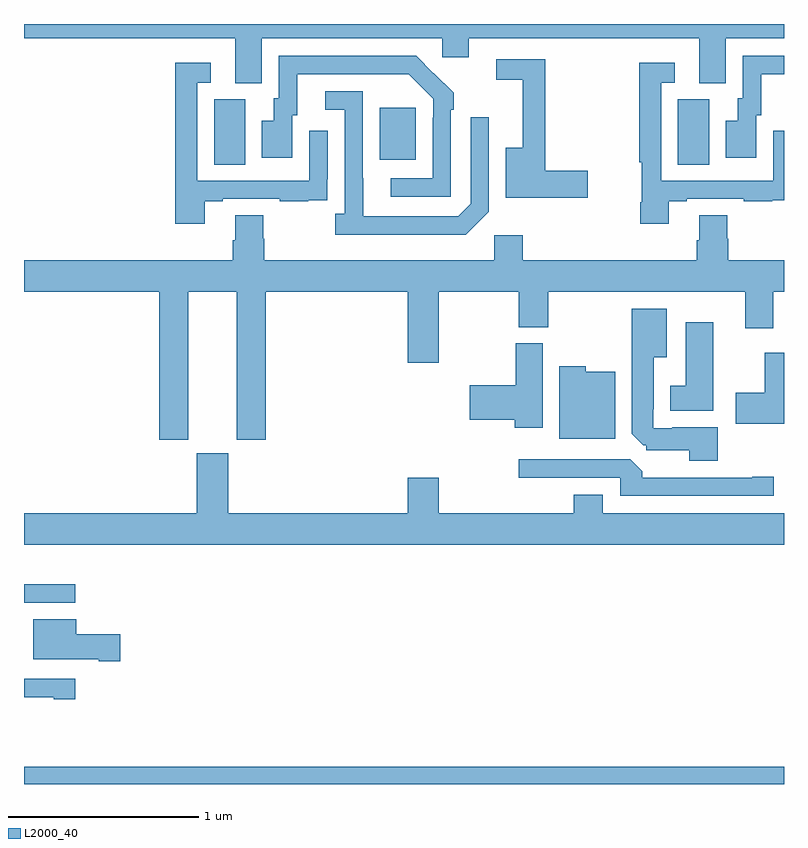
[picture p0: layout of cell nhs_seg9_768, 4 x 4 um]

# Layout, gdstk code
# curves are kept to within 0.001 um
import gdstk
lib = gdstk.Library(unit=1e-6, precision=1e-09)
def R(c, l, rs):  # rectangles x0, y0, x1, y1
    for r in rs: c.add(gdstk.rectangle(r[:2], r[2:], *l))
def P(c, l, *ps):  # polygons
    for p in ps: c.add(gdstk.Polygon(p, *l))
L2000_40 = (2000, 40)

nhs_seg9_768 = lib.new_cell('nhs_seg9_768')
R(nhs_seg9_768, L2000_40, [(151,1188.5,155,1188.592), (151,1189.455,151.27,1189.551), (152,1191.76,152.164,1192.104), (154.442,1191.76,154.606,1192.104), (152.873,1191.785,153.061,1192.06)])
P(nhs_seg9_768, L2000_40, [(152.251,1192.424),(153.201,1192.424),(153.201,1192.326),(153.34,1192.326),(153.34,1192.424),(154.553,1192.424),(154.553,1192.189),(154.693,1192.189),(154.693,1192.424),(155,1192.424),(155,1192.5),(151,1192.5),(151,1192.424),(152.111,1192.424),(152.111,1192.189),(152.251,1192.189)],
  [(153.246,1192.049),(153.261,1192.049),(153.261,1192.137),(153.064,1192.332),(152.34,1192.332),(152.34,1192.11),(152.315,1192.11),(152.315,1191.991),(152.252,1191.991),(152.252,1191.795),(152.413,1191.795),(152.413,1192.02),(152.437,1192.02),(152.437,1192.236),(153.025,1192.236),(153.153,1192.107),(153.153,1192.007),(153.15,1192.007),(153.15,1191.687),(152.931,1191.687),(152.931,1191.591),(153.246,1191.591)],
  [(154.855,1192.02),(154.879,1192.02),(154.879,1192.236),(155,1192.236),(155,1192.332),(154.782,1192.332),(154.782,1192.11),(154.757,1192.11),(154.757,1191.991),(154.694,1191.991),(154.694,1191.795),(154.855,1191.795)],
  [(153.967,1191.728),(153.743,1191.728),(153.743,1192.314),(153.486,1192.314),(153.486,1192.206),(153.626,1192.206),(153.626,1191.85),(153.536,1191.85),(153.536,1191.586),(153.967,1191.586)],
  [(151.951,1191.567),(152.047,1191.567),(152.047,1191.579),(152.347,1191.579),(152.347,1191.567),(152.495,1191.567),(152.495,1191.573),(152.597,1191.573),(152.597,1191.682),(152.598,1191.682),(152.598,1191.937),(152.502,1191.937),(152.502,1191.675),(151.911,1191.675),(151.911,1192.191),(151.984,1192.191),(151.984,1192.297),(151.795,1192.297),(151.795,1191.45),(151.951,1191.45)],
  [(154.393,1191.567),(154.489,1191.567),(154.489,1191.579),(154.789,1191.579),(154.789,1191.567),(154.937,1191.567),(154.937,1191.573),(155,1191.573),(155,1191.937),(154.944,1191.937),(154.944,1191.675),(154.353,1191.675),(154.353,1192.191),(154.426,1192.191),(154.426,1192.297),(154.237,1192.297),(154.237,1191.772),(154.252,1191.772),(154.252,1191.562),(154.244,1191.562),(154.244,1191.45),(154.393,1191.45)],
  [(153.447,1191.513),(153.447,1192.009),(153.351,1192.009),(153.351,1191.555),(153.285,1191.489),(152.785,1191.489),(152.784,1192.146),(152.586,1192.146),(152.586,1192.05),(152.688,1192.05),(152.688,1191.502),(152.637,1191.502),(152.637,1191.392),(153.326,1191.392)],
  [(153.759,1191.092),(154.796,1191.092),(154.796,1190.898),(154.944,1190.898),(154.944,1191.092),(155,1191.092),(155,1191.256),(154.706,1191.256),(154.706,1191.369),(154.701,1191.369),(154.701,1191.494),(154.553,1191.494),(154.553,1191.362),(154.541,1191.362),(154.541,1191.256),(153.626,1191.256),(153.626,1191.388),(153.474,1191.388),(153.474,1191.256),(152.264,1191.256),(152.264,1191.369),(152.259,1191.369),(152.259,1191.494),(152.111,1191.494),(152.111,1191.362),(152.099,1191.362),(152.099,1191.256),(151,1191.256),(151,1191.092),(151.712,1191.092),(151.712,1190.313),(151.864,1190.313),(151.864,1191.092),(152.12,1191.092),(152.12,1190.313),(152.273,1190.313),(152.273,1191.092),(153.02,1191.092),(153.02,1190.718),(153.184,1190.718),(153.184,1191.092),(153.604,1191.092),(153.604,1190.905),(153.759,1190.905)],
  [(154.651,1190.377),(154.411,1190.377),(154.411,1190.373),(154.311,1190.373),(154.311,1190.473),(154.315,1190.473),(154.315,1190.747),(154.384,1190.747),(154.384,1191.001),(154.199,1191.001),(154.199,1190.343),(154.259,1190.283),(154.275,1190.283),(154.275,1190.256),(154.502,1190.256),(154.502,1190.201),(154.651,1190.201)],
  [(154.627,1190.929),(154.484,1190.929),(154.484,1190.596),(154.4,1190.596),(154.4,1190.465),(154.627,1190.465)],
  [(153.73,1190.82),(153.589,1190.82),(153.589,1190.6),(153.345,1190.6),(153.345,1190.417),(153.584,1190.417),(153.584,1190.376),(153.73,1190.376)],
  [(155,1190.77),(154.898,1190.77),(154.898,1190.559),(154.746,1190.559),(154.746,1190.396),(155,1190.396)],
  [(154.111,1190.671),(153.957,1190.671),(153.957,1190.698),(153.818,1190.698),(153.818,1190.318),(154.111,1190.318)],
  [(155,1189.924),(154.045,1189.924),(154.045,1190.023),(153.893,1190.023),(153.893,1189.924),(153.184,1189.924),(153.184,1190.113),(153.02,1190.113),(153.02,1189.924),(152.074,1189.924),(152.074,1190.241),(151.91,1190.241),(151.91,1189.924),(151,1189.924),(151,1189.76),(155,1189.76)],
  [(154.945,1190.117),(154.832,1190.117),(154.832,1190.112),(154.253,1190.112),(154.253,1190.146),(154.191,1190.208),(153.603,1190.208),(153.603,1190.112),(154.137,1190.112),(154.137,1190.016),(154.945,1190.016)],
  [(151.507,1189.287),(151.276,1189.287),(151.276,1189.366),(151.049,1189.366),(151.049,1189.157),(151.394,1189.157),(151.394,1189.145),(151.507,1189.145)],
  [(151.27,1189.053),(151,1189.053),(151,1188.957),(151.157,1188.957),(151.157,1188.945),(151.27,1188.945)])

lib.write_gds('nhs_seg9_768.gds')
